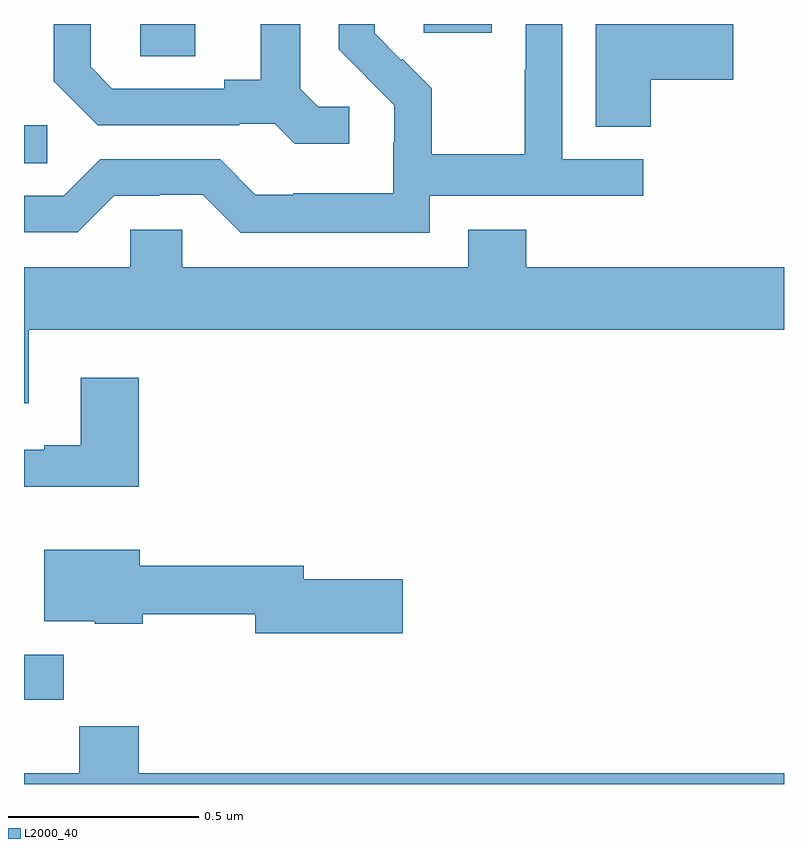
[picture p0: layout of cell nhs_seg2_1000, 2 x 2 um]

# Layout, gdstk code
import gdstk
lib = gdstk.Library(unit=1e-6, precision=1e-09)
def R(c, l, rs):  # rectangles x0, y0, x1, y1
    for r in rs: c.add(gdstk.rectangle(r[:2], r[2:], *l))
def P(c, l, *ps):  # polygons
    for p in ps: c.add(gdstk.Polygon(p, *l))
L2000_40 = (2000, 40)

nhs_seg2_1000 = lib.new_cell('nhs_seg2_1000')
R(nhs_seg2_1000, L2000_40, [(123,620.022,123.104,620.14), (123,621.433,123.061,621.534), (123.306,621.715,123.451,621.8), (124.052,621.777,124.231,621.8)])
P(nhs_seg2_1000, L2000_40, [(124.068,621.348),(124.63,621.348),(124.63,621.444),(124.416,621.444),(124.416,621.8),(124.32,621.8),(124.32,621.68),(124.318,621.68),(124.318,621.457),(124.073,621.457),(124.073,621.631),(123.996,621.708),(123.993,621.705),(123.923,621.776),(123.923,621.8),(123.828,621.8),(123.828,621.734),(123.901,621.661),(123.9,621.66),(123.974,621.586),(123.974,621.489),(123.972,621.489),(123.972,621.355),(123.709,621.355),(123.709,621.351),(123.609,621.351),(123.516,621.444),(123.201,621.444),(123.105,621.348),(123,621.348),(123,621.252),(123.141,621.252),(123.237,621.348),(123.356,621.348),(123.356,621.351),(123.471,621.351),(123.571,621.251),(124.068,621.251)],
  [(124.649,621.653),(124.867,621.653),(124.867,621.8),(124.505,621.8),(124.505,621.529),(124.649,621.529)],
  [(123.856,621.582),(123.774,621.582),(123.727,621.629),(123.727,621.8),(123.623,621.8),(123.623,621.653),(123.527,621.653),(123.527,621.63),(123.232,621.63),(123.175,621.687),(123.175,621.8),(123.078,621.8),(123.078,621.65),(123.194,621.534),(123.566,621.534),(123.566,621.537),(123.66,621.537),(123.712,621.485),(123.856,621.485)],
  [(123.013,620.996),(125,620.996),(125,621.16),(124.322,621.16),(124.322,621.259),(124.169,621.259),(124.169,621.16),(123.417,621.16),(123.417,621.258),(123.279,621.258),(123.279,621.16),(123,621.16),(123,620.802),(123.013,620.802)],
  [(123.302,620.869),(123.149,620.869),(123.149,620.692),(123.053,620.692),(123.053,620.679),(123,620.679),(123,620.582),(123.302,620.582)],
  [(123.997,620.339),(123.736,620.339),(123.736,620.375),(123.304,620.375),(123.304,620.416),(123.053,620.416),(123.053,620.228),(123.186,620.228),(123.186,620.222),(123.312,620.222),(123.312,620.247),(123.608,620.247),(123.608,620.197),(123.997,620.197)],
  [(125,619.828),(123.302,619.828),(123.302,619.952),(123.145,619.952),(123.145,619.828),(123,619.828),(123,619.8),(125,619.8)])

lib.write_gds('nhs_seg2_1000.gds')
